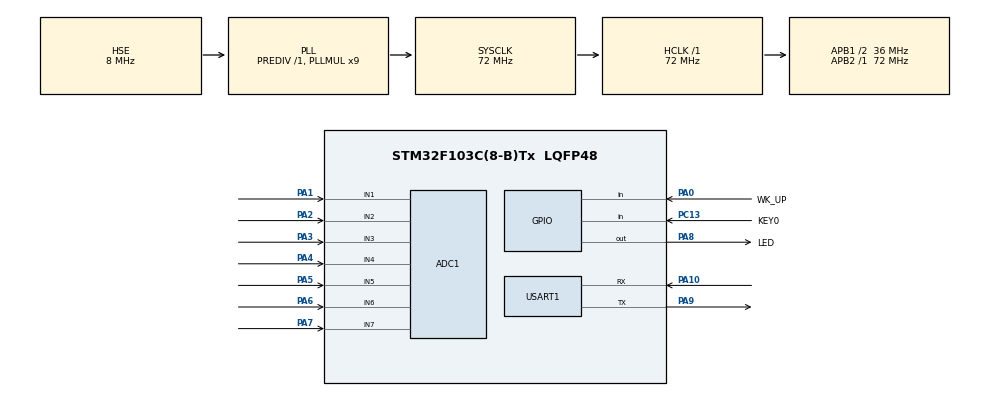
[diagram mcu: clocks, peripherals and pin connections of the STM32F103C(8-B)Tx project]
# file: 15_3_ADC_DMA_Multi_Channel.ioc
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ADC1.Channel-0\#ChannelRegularConversion=ADC_CHANNEL_1
ADC1.Channel-1\#ChannelRegularConversion=ADC_CHANNEL_1
ADC1.Channel-2\#ChannelRegularConversion=ADC_CHANNEL_1
ADC1.Channel-3\#ChannelRegularConversion=ADC_CHANNEL_1
ADC1.Channel-4\#ChannelRegularConversion=ADC_CHANNEL_1
ADC1.Channel-5\#ChannelRegularConversion=ADC_CHANNEL_1
ADC1.Channel-6\#ChannelRegularConversion=ADC_CHANNEL_1
ADC1.ContinuousConvMode=ENABLE
ADC1.DataAlign=ADC_DATAALIGN_RIGHT
ADC1.NbrOfConversion=7
ADC1.NbrOfConversionFlag=1
ADC1.Rank-0\#ChannelRegularConversion=1
ADC1.Rank-1\#ChannelRegularConversion=2
ADC1.Rank-2\#ChannelRegularConversion=3
ADC1.Rank-3\#ChannelRegularConversion=4
ADC1.Rank-4\#ChannelRegularConversion=5
ADC1.Rank-5\#ChannelRegularConversion=6
ADC1.Rank-6\#ChannelRegularConversion=7
ADC1.SamplingTime-0\#ChannelRegularConversion=ADC_SAMPLETIME_239CYCLES_5
ADC1.SamplingTime-1\#ChannelRegularConversion=ADC_SAMPLETIME_239CYCLES_5
ADC1.SamplingTime-2\#ChannelRegularConversion=ADC_SAMPLETIME_239CYCLES_5
ADC1.SamplingTime-3\#ChannelRegularConversion=ADC_SAMPLETIME_239CYCLES_5
ADC1.SamplingTime-4\#ChannelRegularConversion=ADC_SAMPLETIME_239CYCLES_5
ADC1.SamplingTime-5\#ChannelRegularConversion=ADC_SAMPLETIME_239CYCLES_5
ADC1.SamplingTime-6\#ChannelRegularConversion=ADC_SAMPLETIME_239CYCLES_5
ADC1.master=1
Dma.ADC1.0.Direction=DMA_PERIPH_TO_MEMORY
Dma.ADC1.0.Instance=DMA1_Channel1
Dma.ADC1.0.MemDataAlignment=DMA_MDATAALIGN_HALFWORD
Dma.ADC1.0.MemInc=DMA_MINC_ENABLE
Dma.ADC1.0.Mode=DMA_NORMAL
Dma.ADC1.0.PeriphDataAlignment=DMA_PDATAALIGN_HALFWORD
Dma.ADC1.0.PeriphInc=DMA_PINC_DISABLE
Dma.ADC1.0.Priority=DMA_PRIORITY_MEDIUM
Dma.Request0=ADC1
Mcu.Family=STM32F1
Mcu.Name=STM32F103C(8-B)Tx
Mcu.Package=LQFP48
NVIC.DMA1_Channel1_IRQn=true\:2\:1\:true\:false\:true\:false\:true\:true
NVIC.PriorityGroup=NVIC_PRIORITYGROUP_2
NVIC.USART1_IRQn=true\:2\:2\:true\:false\:true\:true\:true\:true
PA0-WKUP.GPIO_Label=WK_UP
PA0-WKUP.GPIO_PuPd=GPIO_PULLDOWN
PA0-WKUP.Signal=GPIO_Input
PA1.Signal=ADCx_IN1
PA10.Mode=Asynchronous
PA10.Signal=USART1_RX
PA13.Mode=Serial_Wire
PA13.Signal=SYS_JTMS-SWDIO
PA14.Mode=Serial_Wire
PA14.Signal=SYS_JTCK-SWCLK
PA2.Signal=ADCx_IN2
PA3.Signal=ADCx_IN3
PA4.Signal=ADCx_IN4
PA5.Signal=ADCx_IN5
PA6.Signal=ADCx_IN6
PA7.Signal=ADCx_IN7
PA8.GPIO_Label=LED
PA8.GPIO_PuPd=GPIO_PULLUP
PA8.GPIO_Speed=GPIO_SPEED_FREQ_HIGH
PA8.PinState=GPIO_PIN_SET
PA8.Signal=GPIO_Output
PA9.Mode=Asynchronous
PA9.Signal=USART1_TX
PC13-TAMPER-RTC.GPIO_Label=KEY0
PC13-TAMPER-RTC.GPIO_PuPd=GPIO_PULLUP
PC13-TAMPER-RTC.Signal=GPIO_Input
PC14-OSC32_IN.Mode=LSE-External-Oscillator
PC14-OSC32_IN.Signal=RCC_OSC32_IN
PC15-OSC32_OUT.Mode=LSE-External-Oscillator
PC15-OSC32_OUT.Signal=RCC_OSC32_OUT
PD0-OSC_IN.Mode=HSE-External-Oscillator
PD0-OSC_IN.Signal=RCC_OSC_IN
PD1-OSC_OUT.Mode=HSE-External-Oscillator
PD1-OSC_OUT.Signal=RCC_OSC_OUT
ProjectManager.HeapSize=0x200
ProjectManager.StackSize=0x400
ProjectManager.TargetToolchain=STM32CubeIDE
RCC.ADCPresc=RCC_ADCPCLK2_DIV6
RCC.AHBFreq_Value=72000000
RCC.APB1CLKDivider=RCC_HCLK_DIV2
RCC.APB1Freq_Value=36000000
RCC.APB1TimFreq_Value=72000000
RCC.APB2Freq_Value=72000000
RCC.APB2TimFreq_Value=72000000
RCC.HCLKFreq_Value=72000000
RCC.PLLMUL=RCC_PLL_MUL9
RCC.PLLSourceVirtual=RCC_PLLSOURCE_HSE
RCC.SYSCLKFreq_VALUE=72000000
RCC.SYSCLKSource=RCC_SYSCLKSOURCE_PLLCLK
RCC.USBFreq_Value=72000000
SH.ADCx_IN1.0=ADC1_IN1,IN1
SH.ADCx_IN2.0=ADC1_IN2,IN2
SH.ADCx_IN3.0=ADC1_IN3,IN3
SH.ADCx_IN4.0=ADC1_IN4,IN4
SH.ADCx_IN5.0=ADC1_IN5,IN5
SH.ADCx_IN6.0=ADC1_IN6,IN6
SH.ADCx_IN7.0=ADC1_IN7,IN7
USART1.VirtualMode=VM_ASYNC
board=custom

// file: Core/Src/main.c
/**
 ****************************************************************************************************
 * @file        main.c
 * @author      ALIENTEK
 * @brief       ADC_DMA_Multi_Channel code
 * @license     Copyright (C) 2020-2032, ALIENTEK
 ****************************************************************************************************
 * @attention
 *
 * platform  	: ALIENTEK STM32F103 development board
 * website		: https://www.alientek.com
 * forum		: http://www.openedv.com/forum.php
 *
 * change logs	:
 * version		data		notes
 * V1.0			20240222	the first version
 *
 ****************************************************************************************************
 */

/* USER CODE BEGIN Header */

/* USER CODE END Header */
#include "main.h"
#include "adc.h"
#include "dma.h"
#include "usart.h"
#include "gpio.h"

/* USER CODE BEGIN Includes */
#include "../../BSP/LED/led.h"
#include "../../BSP/KEY/key.h"
/* USER CODE END Includes */

void SystemClock_Config(void);
/* USER CODE BEGIN PFP */

#define ADC_DMA_BUF_SIZE (7 * 50)                           /* ADC DMA buffer size */
static uint16_t g_adc_dma_buf[ADC_DMA_BUF_SIZE];            /* ADC DMA buffer */
extern uint8_t g_adc_dma_sta;                               /* DMA transfer complete flag */

/* USER CODE END PFP */

/* USER CODE BEGIN 0 */

void stm32f103c8t6_show_mesg(void)
{
	/* The serial port outputs the experimental information */
	printf("\n");
	printf("********************************\r\n");
	printf("STM32F103\r\n");
	printf("ADC(MultiChannel DMA Read) Test\r\n");
	printf("ATOM@ALIENTEK\r\n");
	printf("********************************\r\n");
	printf("\r\n");
}

/* USER CODE END 0 */

int main(void)
{
  /* USER CODE BEGIN 1 */

    uint16_t i;
    uint8_t j;
    uint32_t sum;
    uint16_t adcdata;
    uint16_t voltage;

  /* USER CODE END 1 */

  /* MCU Configuration--------------------------------------------------------*/

  /* Reset of all peripherals, Initializes the Flash interface and the Systick. */
  HAL_Init();

  /* Configure the system clock */
  SystemClock_Config();

  /* Initialize all configured peripherals */
  MX_GPIO_Init();
  MX_DMA_Init();
  MX_USART1_UART_Init();
  MX_ADC1_Init();
  /* USER CODE BEGIN 2 */

  stm32f103c8t6_show_mesg();
  HAL_DMA_Start_IT(&hdma_adc1, (uint32_t)&ADC1->DR, (uint32_t)&g_adc_dma_buf, 0);	/* Start DMA and enable interrupt */
  HAL_ADC_Start_DMA(&hadc1, (uint32_t*)&g_adc_dma_buf, 0);           				/* Turn on the ADC and transmit the result via DMA */

  adc_dma_enable(ADC_DMA_BUF_SIZE);   												/* Start ADC DMA acquisition */
  /* USER CODE END 2 */

  /* Infinite loop */
  /* USER CODE BEGIN WHILE */
  while (1)
  {
      if (g_adc_dma_sta == 1)                             	/* Wait for the DMA transfer to end */
      {
          for (j = 0; j < 7; j++)                         	/* Traversal processing of 7 channels of data */
          {
              sum = 0;

              for (i = 0; i < (ADC_DMA_BUF_SIZE / 7); i++)	/* The multiple sampling values of the ADC are averaged */
              {
                  sum += g_adc_dma_buf[(7 * i) + j];
              }

              adcdata = sum / (ADC_DMA_BUF_SIZE / 7);
              printf("\r\n original value[%d]：%d\r\n", j + 1, adcdata);

              voltage = (adcdata * 3300) / 4095;          	/* Calculate the actual voltage value (1000x enlargement) */
              printf("\r\nvoltage[%d]:%d.%d\r\n", j + 1, voltage / 1000, voltage % 1000);

              g_adc_dma_sta = 0;                          	/* Clear the DMA transfer end flag */
              adc_dma_enable(ADC_DMA_BUF_SIZE);           	/* Enable the next DMA transmission of ADC data */
          }
      }

	  LED_TOGGLE();       								  	/* LED state is flipped */
	  HAL_Delay(100);
    /* USER CODE END WHILE */

  }
}

void SystemClock_Config(void)
{
  RCC_OscInitTypeDef RCC_OscInitStruct = {0};
  RCC_ClkInitTypeDef RCC_ClkInitStruct = {0};
  RCC_PeriphCLKInitTypeDef PeriphClkInit = {0};

  /** Initializes the RCC Oscillators according to the specified parameters
  * in the RCC_OscInitTypeDef structure.
  */
  RCC_OscInitStruct.OscillatorType = RCC_OSCILLATORTYPE_HSE;
  RCC_OscInitStruct.HSEState = RCC_HSE_ON;
  RCC_OscInitStruct.HSEPredivValue = RCC_HSE_PREDIV_DIV1;
  RCC_OscInitStruct.HSIState = RCC_HSI_ON;
  RCC_OscInitStruct.PLL.PLLState = RCC_PLL_ON;
  RCC_OscInitStruct.PLL.PLLSource = RCC_PLLSOURCE_HSE;
  RCC_OscInitStruct.PLL.PLLMUL = RCC_PLL_MUL9;
  if (HAL_RCC_OscConfig(&RCC_OscInitStruct) != HAL_OK)
  {
    Error_Handler();
  }

  /** Initializes the CPU, AHB and APB buses clocks
  */
  RCC_ClkInitStruct.ClockType = RCC_CLOCKTYPE_HCLK|RCC_CLOCKTYPE_SYSCLK
                              |RCC_CLOCKTYPE_PCLK1|RCC_CLOCKTYPE_PCLK2;
  RCC_ClkInitStruct.SYSCLKSource = RCC_SYSCLKSOURCE_PLLCLK;
  RCC_ClkInitStruct.AHBCLKDivider = RCC_SYSCLK_DIV1;
  RCC_ClkInitStruct.APB1CLKDivider = RCC_HCLK_DIV2;
  RCC_ClkInitStruct.APB2CLKDivider = RCC_HCLK_DIV1;

  if (HAL_RCC_ClockConfig(&RCC_ClkInitStruct, FLASH_LATENCY_2) != HAL_OK)
  {
    Error_Handler();
  }
  PeriphClkInit.PeriphClockSelection = RCC_PERIPHCLK_ADC;
  PeriphClkInit.AdcClockSelection = RCC_ADCPCLK2_DIV6;
  if (HAL_RCCEx_PeriphCLKConfig(&PeriphClkInit) != HAL_OK)
  {
    Error_Handler();
  }
}

void Error_Handler(void)
{
  __disable_irq();
  while (1)
  {
  }
}
